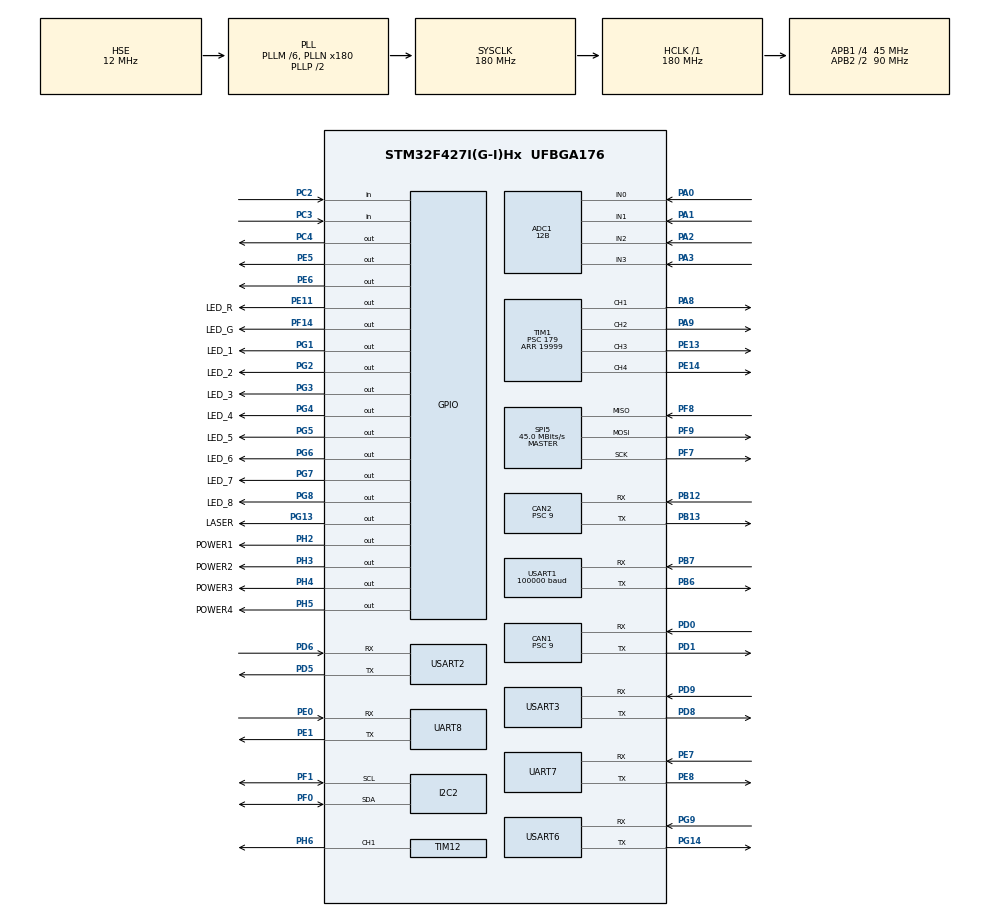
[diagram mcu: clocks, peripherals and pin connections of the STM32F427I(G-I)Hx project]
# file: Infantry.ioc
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ADC1.Channel-10\#ChannelRegularConversion=ADC_CHANNEL_2
ADC1.Channel-11\#ChannelRegularConversion=ADC_CHANNEL_3
ADC1.Channel-8\#ChannelRegularConversion=ADC_CHANNEL_0
ADC1.Channel-9\#ChannelRegularConversion=ADC_CHANNEL_1
ADC1.ClockPrescaler=ADC_CLOCK_SYNC_PCLK_DIV4
ADC1.ContinuousConvMode=ENABLE
ADC1.DMAContinuousRequests=ENABLE
ADC1.DataAlign=ADC_DATAALIGN_RIGHT
ADC1.DiscontinuousConvMode=DISABLE
ADC1.EOCSelection=ADC_EOC_SINGLE_CONV
ADC1.EnableAnalogWatchDog=false
ADC1.ExternalTrigConvEdge=ADC_EXTERNALTRIGCONVEDGE_NONE
ADC1.InjNumberOfConversion=0
ADC1.NbrOfConversion=4
ADC1.NbrOfConversionFlag=1
ADC1.Rank-10\#ChannelRegularConversion=3
ADC1.Rank-11\#ChannelRegularConversion=4
ADC1.Rank-8\#ChannelRegularConversion=1
ADC1.Rank-9\#ChannelRegularConversion=2
ADC1.Resolution=ADC_RESOLUTION_12B
ADC1.SamplingTime-10\#ChannelRegularConversion=ADC_SAMPLETIME_3CYCLES
ADC1.SamplingTime-11\#ChannelRegularConversion=ADC_SAMPLETIME_3CYCLES
ADC1.SamplingTime-8\#ChannelRegularConversion=ADC_SAMPLETIME_3CYCLES
ADC1.SamplingTime-9\#ChannelRegularConversion=ADC_SAMPLETIME_3CYCLES
ADC1.ScanConvMode=ENABLE
ADC1.master=1
CAN1.ABOM=ENABLE
CAN1.BS1=CAN_BS1_2TQ
CAN1.BS2=CAN_BS2_2TQ
CAN1.CalculateTimeBit=1000
CAN1.CalculateTimeQuantum=200.0
CAN1.Prescaler=9
CAN1.SJW=CAN_SJW_4TQ
CAN2.ABOM=ENABLE
CAN2.BS1=CAN_BS1_2TQ
CAN2.BS2=CAN_BS2_2TQ
CAN2.CalculateTimeBit=1000
CAN2.CalculateTimeQuantum=200.0
CAN2.Prescaler=9
CAN2.SJW=CAN_SJW_4TQ
Dma.ADC1.8.Channel=DMA_CHANNEL_0
Dma.ADC1.8.Direction=DMA_PERIPH_TO_MEMORY
Dma.ADC1.8.FIFOMode=DMA_FIFOMODE_DISABLE
Dma.ADC1.8.Instance=DMA2_Stream0
Dma.ADC1.8.MemDataAlignment=DMA_MDATAALIGN_WORD
Dma.ADC1.8.MemInc=DMA_MINC_ENABLE
Dma.ADC1.8.Mode=DMA_CIRCULAR
Dma.ADC1.8.PeriphDataAlignment=DMA_PDATAALIGN_WORD
Dma.ADC1.8.PeriphInc=DMA_PINC_DISABLE
Dma.ADC1.8.Priority=DMA_PRIORITY_HIGH
Dma.Request0=USART1_RX
Dma.Request1=USART2_RX
Dma.Request2=USART3_RX
Dma.Request3=USART3_TX
Dma.Request4=UART8_RX
Dma.Request5=USART6_RX
Dma.Request6=USART6_TX
Dma.Request7=UART7_RX
Dma.Request8=ADC1
Dma.UART7_RX.7.Channel=DMA_CHANNEL_5
Dma.UART7_RX.7.Direction=DMA_PERIPH_TO_MEMORY
Dma.UART7_RX.7.FIFOMode=DMA_FIFOMODE_DISABLE
Dma.UART7_RX.7.Instance=DMA1_Stream3
Dma.UART7_RX.7.MemDataAlignment=DMA_MDATAALIGN_BYTE
Dma.UART7_RX.7.MemInc=DMA_MINC_ENABLE
Dma.UART7_RX.7.Mode=DMA_NORMAL
Dma.UART7_RX.7.PeriphDataAlignment=DMA_PDATAALIGN_BYTE
Dma.UART7_RX.7.PeriphInc=DMA_PINC_DISABLE
Dma.UART7_RX.7.Priority=DMA_PRIORITY_LOW
Dma.UART8_RX.4.Channel=DMA_CHANNEL_5
Dma.UART8_RX.4.Direction=DMA_PERIPH_TO_MEMORY
Dma.UART8_RX.4.FIFOMode=DMA_FIFOMODE_DISABLE
Dma.UART8_RX.4.Instance=DMA1_Stream6
Dma.UART8_RX.4.MemDataAlignment=DMA_MDATAALIGN_BYTE
Dma.UART8_RX.4.MemInc=DMA_MINC_ENABLE
Dma.UART8_RX.4.Mode=DMA_NORMAL
Dma.UART8_RX.4.PeriphDataAlignment=DMA_PDATAALIGN_BYTE
Dma.UART8_RX.4.PeriphInc=DMA_PINC_DISABLE
Dma.UART8_RX.4.Priority=DMA_PRIORITY_LOW
Dma.USART1_RX.0.Channel=DMA_CHANNEL_4
Dma.USART1_RX.0.Direction=DMA_PERIPH_TO_MEMORY
Dma.USART1_RX.0.FIFOMode=DMA_FIFOMODE_DISABLE
Dma.USART1_RX.0.Instance=DMA2_Stream2
Dma.USART1_RX.0.MemDataAlignment=DMA_MDATAALIGN_BYTE
Dma.USART1_RX.0.MemInc=DMA_MINC_ENABLE
Dma.USART1_RX.0.Mode=DMA_NORMAL
Dma.USART1_RX.0.PeriphDataAlignment=DMA_PDATAALIGN_BYTE
Dma.USART1_RX.0.PeriphInc=DMA_PINC_DISABLE
Dma.USART1_RX.0.Priority=DMA_PRIORITY_LOW
Dma.USART2_RX.1.Channel=DMA_CHANNEL_4
Dma.USART2_RX.1.Direction=DMA_PERIPH_TO_MEMORY
Dma.USART2_RX.1.FIFOMode=DMA_FIFOMODE_DISABLE
Dma.USART2_RX.1.Instance=DMA1_Stream5
Dma.USART2_RX.1.MemDataAlignment=DMA_MDATAALIGN_BYTE
Dma.USART2_RX.1.MemInc=DMA_MINC_ENABLE
Dma.USART2_RX.1.Mode=DMA_NORMAL
Dma.USART2_RX.1.PeriphDataAlignment=DMA_PDATAALIGN_BYTE
Dma.USART2_RX.1.PeriphInc=DMA_PINC_DISABLE
Dma.USART2_RX.1.Priority=DMA_PRIORITY_LOW
Dma.USART3_RX.2.Channel=DMA_CHANNEL_4
Dma.USART3_RX.2.Direction=DMA_PERIPH_TO_MEMORY
Dma.USART3_RX.2.FIFOMode=DMA_FIFOMODE_DISABLE
Dma.USART3_RX.2.Instance=DMA1_Stream1
Dma.USART3_RX.2.MemDataAlignment=DMA_MDATAALIGN_BYTE
Dma.USART3_RX.2.MemInc=DMA_MINC_ENABLE
Dma.USART3_RX.2.Mode=DMA_NORMAL
Dma.USART3_RX.2.PeriphDataAlignment=DMA_PDATAALIGN_BYTE
Dma.USART3_RX.2.PeriphInc=DMA_PINC_DISABLE
Dma.USART3_RX.2.Priority=DMA_PRIORITY_LOW
Dma.USART3_TX.3.Channel=DMA_CHANNEL_7
Dma.USART3_TX.3.Direction=DMA_MEMORY_TO_PERIPH
Dma.USART3_TX.3.FIFOMode=DMA_FIFOMODE_DISABLE
Dma.USART3_TX.3.Instance=DMA1_Stream4
Dma.USART3_TX.3.MemDataAlignment=DMA_MDATAALIGN_BYTE
Dma.USART3_TX.3.MemInc=DMA_MINC_ENABLE
Dma.USART3_TX.3.Mode=DMA_NORMAL
Dma.USART3_TX.3.PeriphDataAlignment=DMA_PDATAALIGN_BYTE
Dma.USART3_TX.3.PeriphInc=DMA_PINC_DISABLE
Dma.USART3_TX.3.Priority=DMA_PRIORITY_LOW
Dma.USART6_RX.5.Channel=DMA_CHANNEL_5
Dma.USART6_RX.5.Direction=DMA_PERIPH_TO_MEMORY
Dma.USART6_RX.5.FIFOMode=DMA_FIFOMODE_DISABLE
Dma.USART6_RX.5.Instance=DMA2_Stream1
Dma.USART6_RX.5.MemDataAlignment=DMA_MDATAALIGN_BYTE
Dma.USART6_RX.5.MemInc=DMA_MINC_ENABLE
Dma.USART6_RX.5.Mode=DMA_NORMAL
Dma.USART6_RX.5.PeriphDataAlignment=DMA_PDATAALIGN_BYTE
Dma.USART6_RX.5.PeriphInc=DMA_PINC_DISABLE
Dma.USART6_RX.5.Priority=DMA_PRIORITY_LOW
Dma.USART6_TX.6.Channel=DMA_CHANNEL_5
Dma.USART6_TX.6.Direction=DMA_MEMORY_TO_PERIPH
Dma.USART6_TX.6.FIFOMode=DMA_FIFOMODE_DISABLE
Dma.USART6_TX.6.Instance=DMA2_Stream6
Dma.USART6_TX.6.MemDataAlignment=DMA_MDATAALIGN_BYTE
Dma.USART6_TX.6.MemInc=DMA_MINC_ENABLE
Dma.USART6_TX.6.Mode=DMA_NORMAL
Dma.USART6_TX.6.PeriphDataAlignment=DMA_PDATAALIGN_BYTE
Dma.USART6_TX.6.PeriphInc=DMA_PINC_DISABLE
Dma.USART6_TX.6.Priority=DMA_PRIORITY_LOW
I2C2.OwnAddress=0x30
Mcu.Family=STM32F4
Mcu.Name=STM32F427I(G-I)Hx
Mcu.Package=UFBGA176
NVIC.ADC_IRQn=true\:0\:0\:false\:false\:true
NVIC.CAN1_RX0_IRQn=true\:0\:2\:false\:false\:true
NVIC.CAN1_TX_IRQn=true\:0\:1\:true\:false\:true
NVIC.CAN2_RX0_IRQn=true\:1\:2\:true\:false\:true
NVIC.CAN2_TX_IRQn=true\:2\:1\:true\:false\:true
NVIC.DMA1_Stream1_IRQn=true\:0\:0\:false\:false\:true
NVIC.DMA1_Stream3_IRQn=true\:0\:0\:false\:false\:true
NVIC.DMA1_Stream4_IRQn=true\:0\:0\:false\:false\:true
NVIC.DMA1_Stream5_IRQn=true\:0\:0\:false\:false\:true
NVIC.DMA1_Stream6_IRQn=true\:0\:0\:false\:false\:true
NVIC.DMA2_Stream0_IRQn=true\:0\:0\:false\:false\:true
NVIC.DMA2_Stream1_IRQn=true\:0\:0\:false\:false\:true
NVIC.DMA2_Stream2_IRQn=true\:0\:0\:false\:false\:true
NVIC.DMA2_Stream6_IRQn=true\:0\:0\:false\:false\:true
NVIC.PriorityGroup=NVIC_PRIORITYGROUP_2
NVIC.TIM6_DAC_IRQn=true\:2\:0\:true\:false\:true
NVIC.TIM7_IRQn=true\:2\:1\:true\:false\:true
NVIC.UART7_IRQn=true\:1\:3\:true\:false\:true
NVIC.UART8_IRQn=true\:1\:2\:true\:false\:true
NVIC.USART1_IRQn=true\:0\:0\:false\:false\:true
NVIC.USART2_IRQn=true\:3\:0\:true\:false\:true
NVIC.USART3_IRQn=true\:2\:2\:true\:false\:true
NVIC.USART6_IRQn=true\:2\:0\:true\:false\:true
PA0/WKUP.Signal=ADCx_IN0
PA1.Signal=ADCx_IN1
PA2.Signal=ADCx_IN2
PA3.Signal=ADCx_IN3
PA8.Signal=S_TIM1_CH1
PA9.Signal=S_TIM1_CH2
PB12.GPIO_PuPd=GPIO_PULLUP
PB12.Mode=Slave
PB12.Signal=CAN2_RX
PB13.GPIO_PuPd=GPIO_PULLUP
PB13.Mode=Slave
PB13.Signal=CAN2_TX
PB6.Mode=Asynchronous
PB6.Signal=USART1_TX
PB7.Mode=Asynchronous
PB7.Signal=USART1_RX
PC2.GPIO_PuPd=GPIO_PULLUP
PC2.Signal=GPIO_Input
PC3.GPIO_PuPd=GPIO_PULLUP
PC3.Signal=GPIO_Input
PC4.GPIO_PuPd=GPIO_NOPULL
PC4.Signal=GPIO_Output
PD0.GPIO_PuPd=GPIO_PULLUP
PD0.Mode=Master
PD0.Signal=CAN1_RX
PD1.GPIO_PuPd=GPIO_PULLUP
PD1.Mode=Master
PD1.Signal=CAN1_TX
PD5.Mode=Asynchronous
PD5.Signal=USART2_TX
PD6.Mode=Asynchronous
PD6.Signal=USART2_RX
PD8.Mode=Asynchronous
PD8.Signal=USART3_TX
PD9.Mode=Asynchronous
PD9.Signal=USART3_RX
PE0.Mode=Asynchronous
PE0.Signal=UART8_RX
PE1.Mode=Asynchronous
PE1.Signal=UART8_TX
PE11.GPIO_Label=LED_R
PE11.Signal=GPIO_Output
PE13.Signal=S_TIM1_CH3
PE14.Signal=S_TIM1_CH4
PE5.Signal=GPIO_Output
PE6.Signal=GPIO_Output
PE7.Mode=Asynchronous
PE7.Signal=UART7_RX
PE8.Mode=Asynchronous
PE8.Signal=UART7_TX
PF0.Mode=I2C
PF0.Signal=I2C2_SDA
PF1.Mode=I2C
PF1.Signal=I2C2_SCL
PF14.GPIO_Label=LED_G
PF14.Signal=GPIO_Output
PF7.GPIO_PuPd=GPIO_PULLUP
PF7.Mode=Full_Duplex_Master
PF7.Signal=SPI5_SCK
PF8.GPIO_PuPd=GPIO_PULLUP
PF8.Mode=Full_Duplex_Master
PF8.Signal=SPI5_MISO
PF9.GPIO_PuPd=GPIO_PULLUP
PF9.Mode=Full_Duplex_Master
PF9.Signal=SPI5_MOSI
PG1.GPIO_Label=LED_1
PG1.PinState=GPIO_PIN_SET
PG1.Signal=GPIO_Output
PG13.GPIO_Label=LASER
PG13.Signal=GPIO_Output
PG14.Mode=Asynchronous
PG14.Signal=USART6_TX
PG2.GPIO_Label=LED_2
PG2.PinState=GPIO_PIN_SET
PG2.Signal=GPIO_Output
PG3.GPIO_Label=LED_3
PG3.PinState=GPIO_PIN_SET
PG3.Signal=GPIO_Output
PG4.GPIO_Label=LED_4
PG4.PinState=GPIO_PIN_SET
PG4.Signal=GPIO_Output
PG5.GPIO_Label=LED_5
PG5.PinState=GPIO_PIN_SET
PG5.Signal=GPIO_Output
PG6.GPIO_Label=LED_6
PG6.PinState=GPIO_PIN_SET
PG6.Signal=GPIO_Output
PG7.GPIO_Label=LED_7
PG7.PinState=GPIO_PIN_SET
PG7.Signal=GPIO_Output
PG8.GPIO_Label=LED_8
PG8.PinState=GPIO_PIN_SET
PG8.Signal=GPIO_Output
PG9.Mode=Asynchronous
PG9.Signal=USART6_RX
PH0/OSC_IN.Mode=HSE-External-Oscillator
PH0/OSC_IN.Signal=RCC_OSC_IN
PH1/OSC_OUT.Mode=HSE-External-Oscillator
PH1/OSC_OUT.Signal=RCC_OSC_OUT
PH2.GPIO_Label=POWER1
PH2.PinState=GPIO_PIN_SET
PH2.Signal=GPIO_Output
PH3.GPIO_Label=POWER2
PH3.PinState=GPIO_PIN_SET
PH3.Signal=GPIO_Output
PH4.GPIO_Label=POWER3
PH4.PinState=GPIO_PIN_SET
PH4.Signal=GPIO_Output
PH5.GPIO_Label=POWER4
PH5.PinState=GPIO_PIN_SET
PH5.Signal=GPIO_Output
PH6.Signal=S_TIM12_CH1
ProjectManager.HeapSize=0x200
ProjectManager.StackSize=0x400
ProjectManager.TargetToolchain=MDK-ARM V5
RCC.48MHZClocksFreq_Value=90000000
RCC.AHBFreq_Value=180000000
RCC.APB1CLKDivider=RCC_HCLK_DIV4
RCC.APB1Freq_Value=45000000
RCC.APB1TimFreq_Value=90000000
RCC.APB2CLKDivider=RCC_HCLK_DIV2
RCC.APB2Freq_Value=90000000
RCC.APB2TimFreq_Value=180000000
RCC.CortexFreq_Value=180000000
RCC.HCLKFreq_Value=180000000
RCC.HSE_VALUE=12000000
RCC.HSI_VALUE=16000000
RCC.LSE_VALUE=32768
RCC.PLLM=6
RCC.PLLN=180
RCC.PLLSourceVirtual=RCC_PLLSOURCE_HSE
RCC.SYSCLKFreq_VALUE=180000000
RCC.SYSCLKSource=RCC_SYSCLKSOURCE_PLLCLK
RCC.VCOOutputFreq_Value=360000000
SH.ADCx_IN0.0=ADC1_IN0,IN0
SH.ADCx_IN1.0=ADC1_IN1,IN1
SH.ADCx_IN2.0=ADC1_IN2,IN2
SH.ADCx_IN3.0=ADC1_IN3,IN3
SH.S_TIM12_CH1.0=TIM12_CH1,PWM Generation1 CH1
SH.S_TIM1_CH1.0=TIM1_CH1,PWM Generation1 CH1
SH.S_TIM1_CH2.0=TIM1_CH2,PWM Generation2 CH2
SH.S_TIM1_CH3.0=TIM1_CH3,PWM Generation3 CH3
SH.S_TIM1_CH4.0=TIM1_CH4,PWM Generation4 CH4
SPI5.CalculateBaudRate=45.0 MBits/s
SPI5.Mode=SPI_MODE_MASTER
TIM1.Channel-PWM\ Generation2\ CH2=TIM_CHANNEL_2
TIM1.Channel-PWM\ Generation3\ CH3=TIM_CHANNEL_3
TIM1.Channel-PWM\ Generation4\ CH4=TIM_CHANNEL_4
TIM1.OCFastMode_PWM-PWM\ Generation1\ CH1=TIM_OCFAST_ENABLE
TIM1.OCFastMode_PWM-PWM\ Generation2\ CH2=TIM_OCFAST_ENABLE
TIM1.OCFastMode_PWM-PWM\ Generation3\ CH3=TIM_OCFAST_ENABLE
TIM1.OCFastMode_PWM-PWM\ Generation4\ CH4=TIM_OCFAST_ENABLE
TIM1.Period=19999
TIM1.Prescaler=179
TIM1.Pulse-PWM\ Generation1\ CH1=1000
TIM1.Pulse-PWM\ Generation2\ CH2=1000
TIM1.Pulse-PWM\ Generation3\ CH3=1000
TIM1.Pulse-PWM\ Generation4\ CH4=1000
TIM12.Period=19999
TIM12.Prescaler=89
TIM12.Pulse-PWM\ Generation1\ CH1=1000
TIM6.Period=99
TIM6.Prescaler=899
TIM7.Period=999
TIM7.Prescaler=899
USART1.BaudRate=100000
VP_TIM6_VS_ClockSourceINT.Mode=Enable_Timer
VP_TIM7_VS_ClockSourceINT.Mode=Enable_Timer
board=Infantry

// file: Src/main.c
/**
  ******************************************************************************
  * File Name          : main.c
  * Description        : Main program body
  ******************************************************************************
  *
  * COPYRIGHT(c) 2018 STMicroelectronics
  *
  * Redistribution and use in source and binary forms, with or without modification,
  * are permitted provided that the following conditions are met:
  *   1. Redistributions of source code must retain the above copyright notice,
  *      this list of conditions and the following disclaimer.
  *   2. Redistributions in binary form must reproduce the above copyright notice,
  *      this list of conditions and the following disclaimer in the documentation
  *      and/or other materials provided with the distribution.
  *   3. Neither the name of STMicroelectronics nor the names of its contributors
  *      may be used to endorse or promote products derived from this software
  *      without specific prior written permission.
  *
  * THIS SOFTWARE IS PROVIDED BY THE COPYRIGHT HOLDERS AND CONTRIBUTORS "AS IS"
  * AND ANY EXPRESS OR IMPLIED WARRANTIES, INCLUDING, BUT NOT LIMITED TO, THE
  * IMPLIED WARRANTIES OF MERCHANTABILITY AND FITNESS FOR A PARTICULAR PURPOSE ARE
  * DISCLAIMED. IN NO EVENT SHALL THE COPYRIGHT HOLDER OR CONTRIBUTORS BE LIABLE
  * FOR ANY DIRECT, INDIRECT, INCIDENTAL, SPECIAL, EXEMPLARY, OR CONSEQUENTIAL
  * DAMAGES (INCLUDING, BUT NOT LIMITED TO, PROCUREMENT OF SUBSTITUTE GOODS OR
  * SERVICES; LOSS OF USE, DATA, OR PROFITS; OR BUSINESS INTERRUPTION) HOWEVER
  * CAUSED AND ON ANY THEORY OF LIABILITY, WHETHER IN CONTRACT, STRICT LIABILITY,
  * OR TORT (INCLUDING NEGLIGENCE OR OTHERWISE) ARISING IN ANY WAY OUT OF THE USE
  * OF THIS SOFTWARE, EVEN IF ADVISED OF THE POSSIBILITY OF SUCH DAMAGE.
  *
  ******************************************************************************
  */
#include "stm32f4xx_hal.h"
#include "adc.h"
#include "can.h"
#include "dma.h"
#include "i2c.h"
#include "spi.h"
#include "tim.h"
#include "usart.h"
#include "gpio.h"

/* USER CODE BEGIN Includes */
#include "User_TIM.h"
#include "User_GPIO.h"
#include "User_USART.h"
#include "User_can.h"
#include "Dirver_OLED.h"
#include "User.h"
#include "Driver_Gyro.h"
#include "User_ADC.h"
#include "User.h"
/* USER CODE END Includes */

/* USER CODE BEGIN PV */
/* Private variables ---------------------------------------------------------*/

/* USER CODE END PV */

void SystemClock_Config(void);

/* USER CODE BEGIN PFP */
/* Private function prototypes -----------------------------------------------*/

/* USER CODE END PFP */

int main(void)
{

  /* MCU Configuration----------------------------------------------------------*/

  /* Reset of all peripherals, Initializes the Flash interface and the Systick. */
  HAL_Init();

  /* Configure the system clock */
  SystemClock_Config();

  /* Initialize all configured peripherals */
  MX_GPIO_Init();
  MX_DMA_Init();
  MX_CAN1_Init();
  MX_CAN2_Init();
  MX_I2C2_Init();
  MX_SPI5_Init();
  MX_TIM1_Init();
  MX_TIM6_Init();
  MX_TIM7_Init();
  MX_UART7_Init();
  MX_UART8_Init();
  MX_USART1_UART_Init();
  MX_USART2_UART_Init();
  MX_USART3_UART_Init();
  MX_USART6_UART_Init();
  MX_TIM12_Init();
  MX_ADC1_Init();

  /* USER CODE BEGIN 2 */

  DBUS_InitConfig();//初始化DBUS接收参数
  OLED_Init();
  HAL_Delay(1000);//等待模块稳定
  UART_Init();
  CAN_Init(&hcan1);
  CAN_Init(&hcan2);
  ADC1_Init();
  Motor_Param_Init();
  HAL_Delay(200);
  Get_Target_Angle();
  HAL_Delay(200);
  Esp8266_init();
  TIM_Init();
  Bell_Init();
  /* USER CODE END 2 */

  /* Infinite loop */
  while (1)
  {

  /* USER CODE BEGIN 3 */
	  OLED_ShowData_16(0*6,0,Ultrasonic[0].Mean_Distance,1);
	  OLED_ShowData_16(14*6,0,Ultrasonic[1].Mean_Distance,1);
	  OLED_ShowData_16(0*6,1,Ultrasonic[2].Mean_Distance,1);
	  OLED_ShowData_16(14*6,1,Ultrasonic[3].Mean_Distance,1);
	  OLED_ShowData_16(0*6,3,Ultrasonic[4].Mean_Distance,1);
	  OLED_ShowData_16(14*6,3,Ultrasonic[5].Mean_Distance,1);
	  OLED_ShowData_16(0*6,4,Ultrasonic[6].Mean_Distance,1);
	  OLED_ShowData_16(14*6,4,Ultrasonic[7].Mean_Distance,1);

	  OLED_ShowData_16(6*6,3,UWB.X,1);
	  OLED_ShowData_16(6*6,4,UWB.Y,1);

	  OLED_ShowData_16(6*6,2,UWB.Angle,1);

	  OLED_ShowData_16(6*6,0,SRP.TargetX,1);
	  OLED_ShowData_16(6*6,1,SRP.TargetY,1);

	  OLED_ShowStr(8*6,6,RFID_RC522,Text6);
  }
  /* USER CODE END 3 */

}

/** System Clock Configuration
*/
void SystemClock_Config(void)
{

  RCC_OscInitTypeDef RCC_OscInitStruct;
  RCC_ClkInitTypeDef RCC_ClkInitStruct;

  __HAL_RCC_PWR_CLK_ENABLE();

  __HAL_PWR_VOLTAGESCALING_CONFIG(PWR_REGULATOR_VOLTAGE_SCALE1);

  RCC_OscInitStruct.OscillatorType = RCC_OSCILLATORTYPE_HSE;
  RCC_OscInitStruct.HSEState = RCC_HSE_ON;
  RCC_OscInitStruct.PLL.PLLState = RCC_PLL_ON;
  RCC_OscInitStruct.PLL.PLLSource = RCC_PLLSOURCE_HSE;
  RCC_OscInitStruct.PLL.PLLM = 6;
  RCC_OscInitStruct.PLL.PLLN = 180;
  RCC_OscInitStruct.PLL.PLLP = RCC_PLLP_DIV2;
  RCC_OscInitStruct.PLL.PLLQ = 4;
  HAL_RCC_OscConfig(&RCC_OscInitStruct);

  HAL_PWREx_EnableOverDrive();

  RCC_ClkInitStruct.ClockType = RCC_CLOCKTYPE_HCLK|RCC_CLOCKTYPE_SYSCLK
                              |RCC_CLOCKTYPE_PCLK1|RCC_CLOCKTYPE_PCLK2;
  RCC_ClkInitStruct.SYSCLKSource = RCC_SYSCLKSOURCE_PLLCLK;
  RCC_ClkInitStruct.AHBCLKDivider = RCC_SYSCLK_DIV1;
  RCC_ClkInitStruct.APB1CLKDivider = RCC_HCLK_DIV4;
  RCC_ClkInitStruct.APB2CLKDivider = RCC_HCLK_DIV2;
  HAL_RCC_ClockConfig(&RCC_ClkInitStruct, FLASH_LATENCY_5);

  HAL_SYSTICK_Config(HAL_RCC_GetHCLKFreq()/1000);

  HAL_SYSTICK_CLKSourceConfig(SYSTICK_CLKSOURCE_HCLK);

  /* SysTick_IRQn interrupt configuration */
  HAL_NVIC_SetPriority(SysTick_IRQn, 0, 0);
}

/************************ (C) COPYRIGHT STMicroelectronics *****END OF FILE****/
